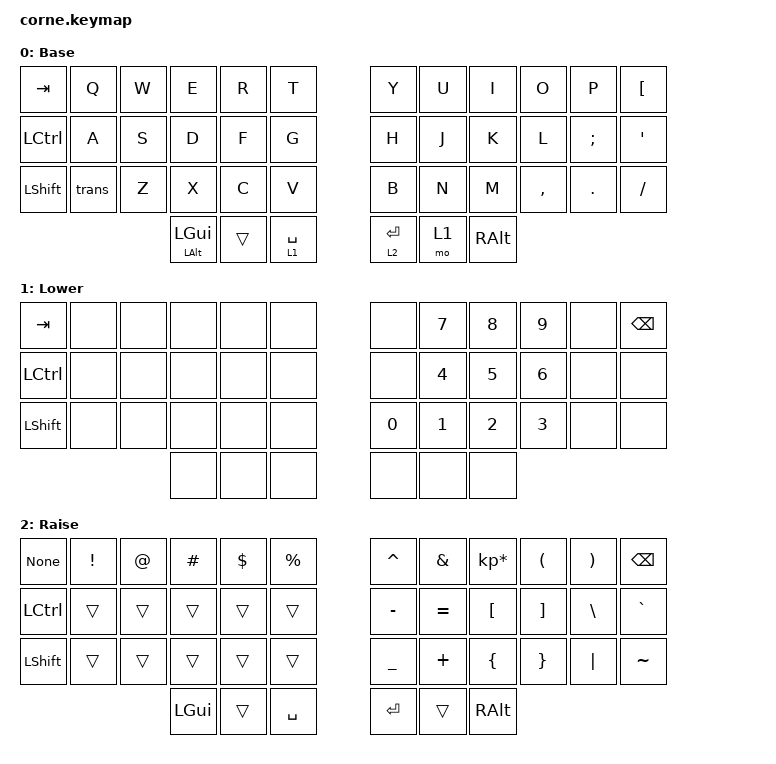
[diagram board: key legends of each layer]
/*
 * Copyright (c) 2020 The ZMK Contributors
 *
 * SPDX-License-Identifier: MIT
 */

#include <behaviors.dtsi>
#include <dt-bindings/zmk/keys.h>
#include <dt-bindings/zmk/bt.h>

/ {
        keymap {
                compatible = "zmk,keymap";

                default_layer {
//&kp LEFT &kp DOWN &kp UP &kp RIGHT
// -----------------------------------------------------------------------------------------
                        display-name = "Base";
                        bindings = <
// |  TAB |  Q  |  W  |  E  |  R  |  T  |        |  Y  |  U   |  I  |  O  |  P  | Å   |
&kp TAB   &kp Q &kp W &kp E &kp R &kp T          &kp Y &kp U  &kp I &kp O &kp P &kp LBKT

// | CTRL |  A  |  S  |  D  |  F  |  G  |        |  H  |  J   |  K  |  L  |  Ö  |  Ä  |
&kp LCTRL &kp A &kp S &kp D &kp F &kp G          &kp H &kp J  &kp K &kp L &kp SEMI &kp SQT

// | SHFT | <>  |  Z  |  X  |  C  |  V  |        |  B  |  N  |  M   |  ,  |  .  |  /  |
&kp LSHFT &kp trans &kp Z &kp X &kp C &kp V      &kp B &kp N &kp M  &kp COMMA &kp DOT &kp FSLH

//       | GUI         | LWR  | SPC |            | ENT     | RSE  | ALT |
         &mt LALT LGUI &trans &lt 1 SPACE        &lt 2 RET &mo 1  &kp RALT

                        >;
                };
                lower_layer {
// -----------------------------------------------------------------------------------------
                        display-name = "Lower";
                        bindings = <
// |  TAB |     |     |     |     |     |        |  *   |  7   |  8   |  9   |  +     | BKSP |
&kp TAB   &none &none &none &none &none        &none &kp N7 &kp N8 &kp N9 &none &kp BSPC

// | CTRL |     |     |     |     |     |        |  /   |  4   |  5   |  6   |  -     |     |
&kp LCTRL &none &none &none &none &none       &none &kp N4 &kp N5 &kp N6 &none &none

// | SHFT |     |     |     |     |     |        |  0   |  1   |  2   |  3   | =       | ENT |
&kp LSHFT &none &none &none &none &none          &kp N0 &kp N1 &kp N2 &kp N3 &none &none

//           | GUI      | LWR | SPC |            | ENT     | RSE  | ALT |
         &none &none &none        &none &none &none

                        >;
                };

                raise_layer {
// -----------------------------------------------------------------------------------------
// |      |  !  |  @  |  #  |  $  |  %  |   |  ^  |  &  |  *  |  (  |  )  | BKSP |
// | CTRL |     |     |     |     |     |   |  -  |  =  |  [  |  ]  |  \  |  `   |
// | SHFT |     |     |     |     |     |   |  _  |  +  |  {  |  }  | "|" |  ~   |
//                    | GUI |     | SPC |   | ENT |     | ALT |
                        display-name = "Raise";
                        bindings = <
   &None     &kp EXCL &kp AT &kp HASH &kp DLLR &kp PRCNT   &kp CARET &kp AMPS  &kp KP_MULTIPLY &kp LPAR &kp RPAR &kp BSPC
   &kp LCTRL &trans   &trans &trans   &trans   &trans      &kp MINUS &kp EQUAL &kp LBKT        &kp RBKT &kp BSLH &kp GRAVE
   &kp LSHFT &trans   &trans &trans   &trans   &trans      &kp UNDER &kp PLUS  &kp LBRC        &kp RBRC &kp PIPE &kp TILDE
                    	     &kp LGUI &trans   &kp SPACE   &kp RET   &trans    &kp RALT
                        >;
                };

                extra_1 {
                        status = "reserved";
                };

                extra_2 {
                        status = "reserved";
                };

                extra_3 {
                        status = "reserved";
                };
        };
};
